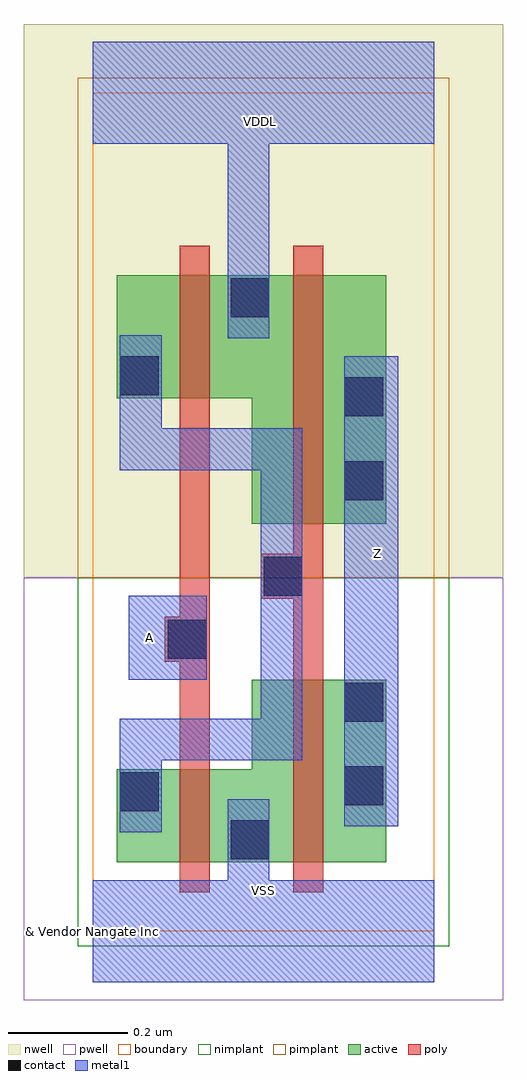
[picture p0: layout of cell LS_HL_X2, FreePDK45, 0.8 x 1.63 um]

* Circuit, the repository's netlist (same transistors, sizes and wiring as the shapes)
* 
* ******************************************************************************
* *                                                                            *
* *                   Copyright (C) 2004-2011, Nangate Inc.                    *
* *                           All rights reserved.                             *
* *                                                                            *
* * Nangate and the Nangate logo are trademarks of Nangate Inc.                *
* *                                                                            *
* * All trademarks, logos, software marks, and trade names (collectively the   *
* * "Marks") in this program are proprietary to Nangate or other respective    *
* * owners that have granted Nangate the right and license to use such Marks.  *
* * You are not permitted to use the Marks without the prior written consent   *
* * of Nangate or such third party that may own the Marks.                     *
* *                                                                            *
* * This file has been provided pursuant to a License Agreement containing     *
* * restrictions on its use. This file contains valuable trade secrets and     *
* * proprietary information of Nangate Inc., and is protected by U.S. and      *
* * international laws and/or treaties.                                        *
* *                                                                            *
* * The copyright notice(s) in this file does not indicate actual or intended  *
* * publication of this file.                                                  *
* *                                                                            *
* *     NGLibraryCreator, v2010.08-HR32-SP3-2010-08-05 - build 1009061800      *
* *                                                                            *
* ******************************************************************************
* 
* 
* Running on server08.nangate.com for user Giancarlo Franciscatto (gfr).
* Local time is now Thu, 6 Jan 2011, 19:45:47.
* Main process id is 3320.
*
********************************************************************************
*                                                                              *
* Cellname:   LS_HL_X2.                                                        *
*                                                                              *
* Technology: NCSU FreePDK 45nm.                                               *
* Format:     Cdl.                                                             *
*                                                                              *
* Written on server08.nangate.com for user Giancarlo Franciscatto (gfr)        *
* at 19:45:47 on Thu, 6 Jan 2011.                                              *
*                                                                              *
********************************************************************************
.SUBCKT LS_HL_X2 A Z VDDL VSS 
*.PININFO A:I Z:O VDDL:P VSS:G 
*.EQN Z=A
M_i_0 VSS A net_000 VSS NMOS_VTL W=0.155000U L=0.050000U
M_i_7 Z net_000 VSS VSS NMOS_VTL W=0.305000U L=0.050000U
M_i_14 VDDL A net_000 VDDL PMOS_VTL W=0.205000U L=0.050000U
M_i_21 Z net_000 VDDL VDDL PMOS_VTL W=0.415000U L=0.050000U
.ENDS 

********************************************************************************
*
* END
*
********************************************************************************

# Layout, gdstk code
import gdstk
lib = gdstk.Library(unit=1e-6, precision=1e-10)
def R(c, l, rs):  # rectangles x0, y0, x1, y1
    for r in rs: c.add(gdstk.rectangle(r[:2], r[2:], *l))
def P(c, l, *ps):  # polygons
    for p in ps: c.add(gdstk.Polygon(p, *l))
active = (1, 0)
pwell = (2, 0)
nwell = (3, 0)
nimplant = (4, 0)
pimplant = (5, 0)
poly = (9, 0)
contact = (10, 0)
metal1 = (11, 0)
boundary = (235, 0)

ls_hl_x2 = lib.new_cell('LS_HL_X2')
P(ls_hl_x2, active, [(0.04,0.115),(0.49,0.115),(0.49,0.42),(0.265,0.42),(0.265,0.27),(0.04,0.27)],
  [(0.04,0.89),(0.265,0.89),(0.265,0.68),(0.49,0.68),(0.49,1.095),(0.04,1.095)])
R(ls_hl_x2, pwell, [(-0.115,-0.115,0.685,0.59)])
R(ls_hl_x2, nwell, [(-0.115,0.59,0.685,1.515)])
R(ls_hl_x2, nimplant, [(-0.025,-0.025,0.595,0.59)])
R(ls_hl_x2, pimplant, [(-0.025,0.59,0.595,1.425)])
P(ls_hl_x2, poly, [(0.12,0.45),(0.145,0.45),(0.145,0.065),(0.195,0.065),(0.195,1.145),(0.145,1.145),(0.145,0.525),(0.12,0.525)],
  [(0.28,0.555),(0.335,0.555),(0.335,0.065),(0.385,0.065),(0.385,1.145),(0.335,1.145),(0.335,0.63),(0.28,0.63)])
R(ls_hl_x2, contact, [(0.23,0.12,0.295,0.185), (0.045,0.2,0.11,0.265), (0.42,0.21,0.485,0.275), (0.42,0.35,0.485,0.415), (0.125,0.455,0.19,0.52), (0.285,0.56,0.35,0.625), (0.42,0.72,0.485,0.785), (0.42,0.86,0.485,0.925), (0.045,0.895,0.11,0.96), (0.23,1.025,0.295,1.09)])
R(ls_hl_x2, metal1, [(0.42,0.175,0.51,0.96), (0.06,0.42,0.19,0.56)])
P(ls_hl_x2, metal1, [(0.045,0.77),(0.28,0.77),(0.28,0.355),(0.045,0.355),(0.045,0.165),(0.115,0.165),(0.115,0.285),(0.35,0.285),(0.35,0.84),(0.115,0.84),(0.115,0.995),(0.045,0.995)],
  [(0,-0.085),(0.57,-0.085),(0.57,0.085),(0.295,0.085),(0.295,0.22),(0.225,0.22),(0.225,0.085),(0,0.085)],
  [(0,1.315),(0.225,1.315),(0.225,0.99),(0.295,0.99),(0.295,1.315),(0.57,1.315),(0.57,1.485),(0,1.485)])
R(ls_hl_x2, boundary, [(0,0,0.57,1.4)])
ls_hl_x2.add(gdstk.Label('A', (0.095,0.49), layer=11, texttype=0))
ls_hl_x2.add(gdstk.Label('VDDL', (0.28,1.3525), layer=11, texttype=0))
ls_hl_x2.add(gdstk.Label('VSS', (0.285,0.0675), layer=11, texttype=0))
ls_hl_x2.add(gdstk.Label('Z', (0.475,0.63), layer=11, texttype=0))
ls_hl_x2.add(gdstk.Label('& Vendor Nangate Inc', (0,0), layer=63, texttype=63))
ls_hl_x2.add(gdstk.Label('& Product Open Cell Library', (0,0), layer=63, texttype=63))
ls_hl_x2.add(gdstk.Label('& Version 2010_12', (0,0), layer=63, texttype=63))
ls_hl_x2.add(gdstk.Label('& Instance LS_HL_X2', (0,0), layer=63, texttype=63))

lib.write_gds('LS_HL_X2.gds')
